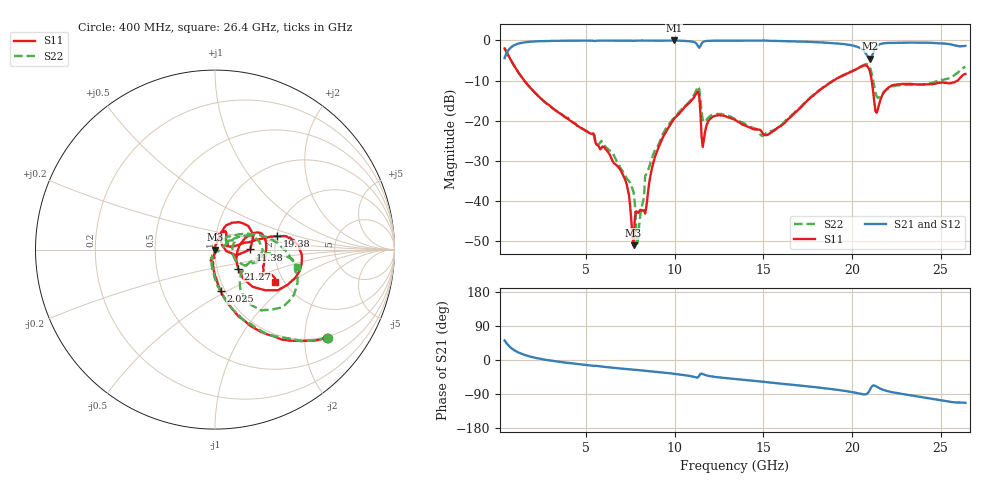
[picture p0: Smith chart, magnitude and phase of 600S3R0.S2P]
!  American Technical Ceramics  Date:  10/26/00
!  One Norden Lane
!  Huntington Station,  NY.  11746-2102
!  Tel:  (631) 622-4700  Fax:  (631) 622-4748
!  Part Number  600S3R0BW  Mounting Orientation: Horizontal
!  Description: Ultra Low ESR Microwave capacitors
!  Application: Coupling, Bypass, Tuning, DC Block
!  Filters, Matching
# GHZ S DB R 50
! Freq  |S11|  S11 Ph  |S21|  S21 Ph  |S12|  S12 Ph  |S22|  S22 Ph
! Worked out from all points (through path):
!   401 points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, 400 MHz to 26.4 GHz, reference 50 ohm
!   highest |S21| = 0.00 dB at 9.955 GHz (marker M1); lowest = -4.6 dB at 21 GHz (marker M2)
!   group delay of S21, straight-line fit = 13.3 ps
!   lowest |S11| = -51.2 dB at 7.68 GHz (marker M3), VSWR 1.01, Z = 50.3 - j0.109 ohm
!   |S11| at or under -10 dB: 1.505 GHz to 18.96 GHz (17.46 GHz wide, 171 % of centre); 21.11 GHz to 25.95 GHz (4.841 GHz wide, 20.6 % of centre)
!   |S22| runs from -51.4 to -2.0 dB; largest |S21 - S12| = 0.011
!   S11 on the Smith chart (normalised r, x): 400 MHz: 0.96, -2.57; 2.025 GHz: 0.96, -0.47; 11.38 GHz: 1.49, +0.00; 19.38 GHz: 2.03, +0.35; 21.27 GHz: 1.26, -0.28; 26.4 GHz: 1.81, -0.76
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0.4  -1.99 -38.3  -4.41 51.5  -4.41 51.5  -1.97 -38.0
1.05  -7.09 -66.6  -0.96 22.9  -0.98 22.9  -7.13 -66.6
2.025  -12.65 -82.0  -0.26 6.9  -0.27 6.8  -12.66 -83.0
4.755  -21.94 -97.1  -0.05 -11.9  -0.06 -12.0  -21.97 -103.6
7.03  -33.15 -98.4  -0.04 -22.8  -0.04 -22.8  -32.44 -111.8
7.68  -51.16 -23.1  -0.08 -25.7  -0.09 -25.7  -37.96 -111.3
7.94  -43.07 -6.2  -0.03 -26.7  -0.04 -26.8  -49.31 -27.8
8.46  -39.12 110.5  -0.03 -29.3  -0.03 -29.3  -32.80 -15.9
9.11  -26.45 73.7  -0.07 -32.2  -0.06 -32.2  -25.73 21.2
9.955  -19.57 69.8  0.00 -36.4  -0.02 -36.4  -19.41 29.2
11.19  -13.43 43.7  -0.65 -45.9  -0.66 -45.9  -12.67 17.0
11.385  -14.11 0.2  -1.82 -40.9  -1.79 -40.8  -12.18 -16.2
11.645  -24.63 54.3  -0.28 -38.5  -0.28 -38.5  -20.41 -3.1
12.165  -18.98 62.9  -0.06 -43.9  -0.07 -44.0  -18.55 22.5
13.4  -19.86 51.6  -0.06 -50.3  -0.08 -50.3  -19.68 29.0
15.22  -23.58 18.4  -0.07 -58.9  -0.07 -59.0  -22.96 47.4
17.755  -13.96 12.6  -0.40 -70.7  -0.40 -70.7  -13.83 25.9
19.38  -8.98 12.1  -0.86 -80.1  -0.86 -80.1  -8.98 5.1
21.005  -7.59 -32.8  -4.58 -79.5  -4.55 -78.9  -6.70 -46.1
21.265  -15.56 -39.5  -2.32 -67.3  -2.34 -67.4  -11.71 -57.2
22.11  -11.60 21.0  -0.63 -83.3  -0.64 -83.3  -11.81 -9.8
26.4  -8.37 -28.1  -1.34 -113.2  -1.34 -113.2  -6.58 -12.2
